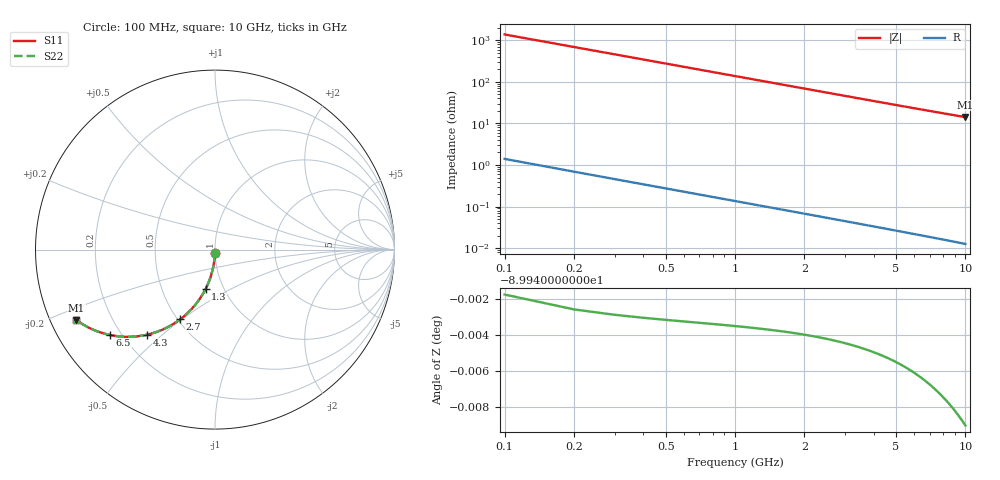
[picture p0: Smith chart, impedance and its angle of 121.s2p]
# Hz S RI R 50.00
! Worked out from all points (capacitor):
!   100 points, 100 MHz to 10 GHz, reference 50 ohm
!   read as one part in shunt: C = 1.15 pF near 100 MHz
!   lowest |Z| = 14.2 ohm at 10 GHz (marker M1)
!   S11 on the Smith chart (normalised r, x): 100 MHz: 1.00, -0.04; 1.3 GHz: 0.82, -0.38; 2.7 GHz: 0.52, -0.49; 4.3 GHz: 0.30, -0.45; 6.5 GHz: 0.16, -0.35; 10 GHz: 0.08, -0.24
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1e8  -0.000297 -0.0179  0.9996 -0.0184  0.9996 -0.0184  -0.000297 -0.0179
2e8  -0.0013 -0.0357  0.9986 -0.0367  0.9986 -0.0367  -0.0013 -0.0357
3e8  -0.00295 -0.0535  0.9969 -0.0549  0.9969 -0.0549  -0.00295 -0.0535
4e8  -0.00524 -0.0711  0.9947 -0.0731  0.9947 -0.0731  -0.00524 -0.0711
5e8  -0.00818 -0.0886  0.9917 -0.0911  0.9917 -0.0911  -0.00818 -0.0886
6e8  -0.0117 -0.106  0.9882 -0.1089  0.9882 -0.1089  -0.0117 -0.106
7e8  -0.0159 -0.1231  0.984 -0.1265  0.984 -0.1265  -0.0159 -0.1231
8e8  -0.0207 -0.14  0.9792 -0.1439  0.9792 -0.1439  -0.0207 -0.14
1e9  -0.0319 -0.173  0.968 -0.1779  0.968 -0.1779  -0.0319 -0.173
1.3e9  -0.0527 -0.22  0.9471 -0.2263  0.9471 -0.2263  -0.0527 -0.22
1.5e9  -0.069 -0.2494  0.9309 -0.2568  0.9309 -0.2568  -0.069 -0.2494
1.8e9  -0.0965 -0.2904  0.9034 -0.2992  0.9034 -0.2992  -0.0965 -0.2904
2.2e9  -0.1376 -0.3386  0.8622 -0.3495  0.8622 -0.3495  -0.1376 -0.3386
2.7e9  -0.1938 -0.3882  0.806 -0.4015  0.806 -0.4015  -0.1938 -0.3882
3.4e9  -0.2763 -0.4383  0.7234 -0.4551  0.7234 -0.4551  -0.2763 -0.4383
4.3e9  -0.3797 -0.4741  0.62 -0.4955  0.62 -0.4955  -0.3797 -0.4741
5.1e9  -0.4632 -0.4854  0.5364 -0.5109  0.5364 -0.5109  -0.4632 -0.4854
6.5e9  -0.5847 -0.4758  0.4146 -0.5086  0.4146 -0.5086  -0.5847 -0.4758
6.7e9  -0.5995 -0.4725  0.3998 -0.5063  0.3998 -0.5063  -0.5995 -0.4725
7.5e9  -0.653 -0.4563  0.3462 -0.4944  0.3462 -0.4944  -0.653 -0.4563
8.4e9  -0.7032 -0.4347  0.2958 -0.4776  0.2958 -0.4776  -0.7032 -0.4347
1e10  -0.7717 -0.3929  0.2268 -0.4445  0.2268 -0.4445  -0.7717 -0.3929
